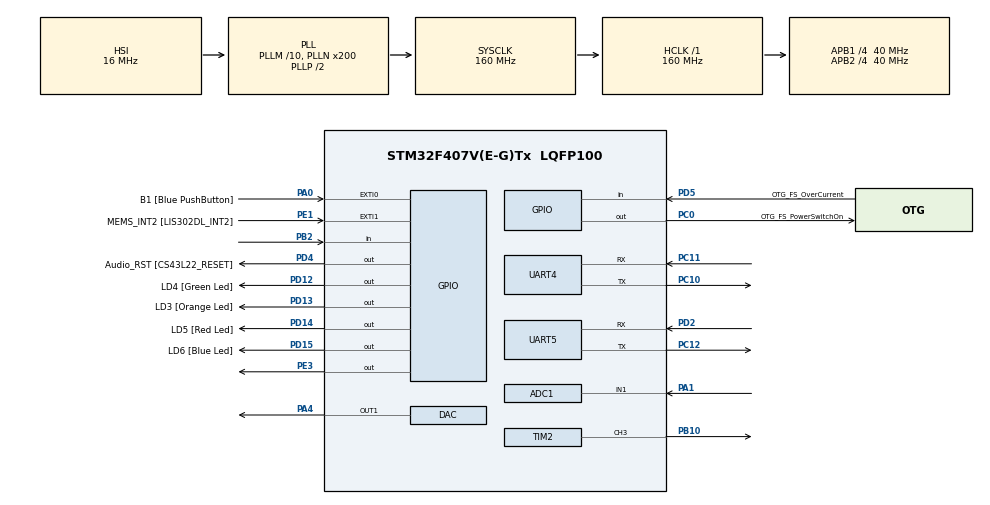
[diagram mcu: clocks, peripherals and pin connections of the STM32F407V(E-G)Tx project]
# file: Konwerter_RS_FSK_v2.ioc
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ADC1.Channel-1\#ChannelRegularConversion=ADC_CHANNEL_1
ADC1.ExternalTrigConv=ADC_EXTERNALTRIGCONV_T2_CC3
ADC1.ExternalTrigConvEdge=ADC_EXTERNALTRIGCONVEDGE_RISING
ADC1.NbrOfConversion=1
ADC1.NbrOfConversionFlag=1
ADC1.Rank-1\#ChannelRegularConversion=1
ADC1.SamplingTime-1\#ChannelRegularConversion=ADC_SAMPLETIME_3CYCLES
ADC1.ScanConvMode=DISABLE
ADC1.master=1
DAC.DAC_Trigger=DAC_TRIGGER_T2_TRGO
Dma.ADC1.1.Direction=DMA_PERIPH_TO_MEMORY
Dma.ADC1.1.FIFOMode=DMA_FIFOMODE_DISABLE
Dma.ADC1.1.Instance=DMA2_Stream0
Dma.ADC1.1.MemDataAlignment=DMA_MDATAALIGN_HALFWORD
Dma.ADC1.1.MemInc=DMA_MINC_ENABLE
Dma.ADC1.1.Mode=DMA_NORMAL
Dma.ADC1.1.PeriphDataAlignment=DMA_PDATAALIGN_HALFWORD
Dma.ADC1.1.PeriphInc=DMA_PINC_DISABLE
Dma.ADC1.1.Priority=DMA_PRIORITY_LOW
Dma.DAC1.0.Direction=DMA_MEMORY_TO_PERIPH
Dma.DAC1.0.FIFOMode=DMA_FIFOMODE_DISABLE
Dma.DAC1.0.Instance=DMA1_Stream5
Dma.DAC1.0.MemDataAlignment=DMA_MDATAALIGN_WORD
Dma.DAC1.0.MemInc=DMA_MINC_ENABLE
Dma.DAC1.0.Mode=DMA_NORMAL
Dma.DAC1.0.PeriphDataAlignment=DMA_PDATAALIGN_WORD
Dma.DAC1.0.PeriphInc=DMA_PINC_DISABLE
Dma.DAC1.0.Priority=DMA_PRIORITY_HIGH
Dma.Request0=DAC1
Dma.Request1=ADC1
Dma.Request2=UART4_TX
Dma.Request3=UART5_TX
Dma.UART4_TX.2.Direction=DMA_MEMORY_TO_PERIPH
Dma.UART4_TX.2.FIFOMode=DMA_FIFOMODE_DISABLE
Dma.UART4_TX.2.Instance=DMA1_Stream4
Dma.UART4_TX.2.MemDataAlignment=DMA_MDATAALIGN_BYTE
Dma.UART4_TX.2.MemInc=DMA_MINC_ENABLE
Dma.UART4_TX.2.Mode=DMA_NORMAL
Dma.UART4_TX.2.PeriphDataAlignment=DMA_PDATAALIGN_BYTE
Dma.UART4_TX.2.PeriphInc=DMA_PINC_DISABLE
Dma.UART4_TX.2.Priority=DMA_PRIORITY_LOW
Dma.UART5_TX.3.Direction=DMA_MEMORY_TO_PERIPH
Dma.UART5_TX.3.FIFOMode=DMA_FIFOMODE_DISABLE
Dma.UART5_TX.3.Instance=DMA1_Stream7
Dma.UART5_TX.3.MemDataAlignment=DMA_MDATAALIGN_BYTE
Dma.UART5_TX.3.MemInc=DMA_MINC_ENABLE
Dma.UART5_TX.3.Mode=DMA_NORMAL
Dma.UART5_TX.3.PeriphDataAlignment=DMA_PDATAALIGN_BYTE
Dma.UART5_TX.3.PeriphInc=DMA_PINC_DISABLE
Dma.UART5_TX.3.Priority=DMA_PRIORITY_LOW
Mcu.Family=STM32F4
Mcu.Name=STM32F407V(E-G)Tx
Mcu.Package=LQFP100
NVIC.ADC_IRQn=true\:0\:0\:false\:true\:true\:5\:true\:true
NVIC.DMA1_Stream4_IRQn=true\:0\:0\:false\:true\:true\:3\:false\:true
NVIC.DMA1_Stream5_IRQn=true\:0\:0\:false\:true\:true\:1\:false\:true
NVIC.DMA1_Stream7_IRQn=true\:0\:0\:false\:true\:true\:8\:false\:true
NVIC.DMA2_Stream0_IRQn=true\:0\:0\:false\:true\:true\:2\:false\:true
NVIC.PriorityGroup=NVIC_PRIORITYGROUP_0
NVIC.TIM7_IRQn=true\:0\:0\:false\:true\:true\:6\:true\:true
NVIC.UART4_IRQn=true\:0\:0\:false\:true\:true\:4\:true\:true
NVIC.UART5_IRQn=true\:0\:0\:false\:true\:true\:7\:true\:true
PA0-WKUP.GPIO_Label=B1 [Blue PushButton]
PA0-WKUP.Signal=GPXTI0
PA1.Signal=ADCx_IN1
PA10.GPIO_Label=OTG_FS_ID
PA10.GPIO_Mode=GPIO_MODE_AF_PP
PA10.GPIO_PuPd=GPIO_NOPULL
PA10.GPIO_Speed=GPIO_SPEED_FREQ_LOW
PA10.Signal=USB_OTG_FS_ID
PA11.GPIO_Label=OTG_FS_DM
PA11.GPIO_Mode=GPIO_MODE_AF_PP
PA11.GPIO_PuPd=GPIO_NOPULL
PA11.GPIO_Speed=GPIO_SPEED_FREQ_LOW
PA11.Signal=USB_OTG_FS_DM
PA12.GPIO_Label=OTG_FS_DP
PA12.GPIO_Mode=GPIO_MODE_AF_PP
PA12.GPIO_PuPd=GPIO_NOPULL
PA12.GPIO_Speed=GPIO_SPEED_FREQ_LOW
PA12.Signal=USB_OTG_FS_DP
PA13.GPIO_Label=SWDIO
PA13.Mode=Serial_Wire
PA13.Signal=SYS_JTMS-SWDIO
PA14.GPIO_Label=SWCLK
PA14.Mode=Serial_Wire
PA14.Signal=SYS_JTCK-SWCLK
PA4.Signal=COMP_DAC1_group
PA9.GPIO_Label=VBUS_FS
PA9.GPIO_Mode=GPIO_MODE_INPUT
PA9.GPIO_PuPd=GPIO_NOPULL
PA9.Signal=USB_OTG_FS_VBUS
PB10.Signal=S_TIM2_CH3
PB2.Signal=GPIO_Input
PB3.GPIO_Label=SWO
PB3.Signal=SYS_JTDO-SWO
PC0.GPIO_Label=OTG_FS_PowerSwitchOn
PC0.GPIO_PuPd=GPIO_NOPULL
PC0.GPIO_Speed=GPIO_SPEED_FREQ_LOW
PC0.PinState=GPIO_PIN_RESET
PC0.Signal=GPIO_Output
PC10.Mode=Asynchronous
PC10.Signal=UART4_TX
PC11.Mode=Asynchronous
PC11.Signal=UART4_RX
PC12.Mode=Asynchronous
PC12.Signal=UART5_TX
PC14-OSC32_IN.GPIO_Label=PC14-OSC32_IN
PC14-OSC32_IN.Signal=RCC_OSC32_IN
PC15-OSC32_OUT.GPIO_Label=PC15-OSC32_OUT
PC15-OSC32_OUT.Signal=RCC_OSC32_OUT
PC3.GPIO_Label=PDM_OUT [MP45DT02_DOUT]
PC3.GPIO_Mode=GPIO_MODE_AF_PP
PC3.GPIO_PuPd=GPIO_NOPULL
PC3.GPIO_Speed=GPIO_SPEED_FREQ_LOW
PC3.Signal=I2S2_SD
PD12.GPIO_Label=LD4 [Green Led]
PD12.GPIO_PuPd=GPIO_NOPULL
PD12.GPIO_Speed=GPIO_SPEED_FREQ_LOW
PD12.Signal=GPIO_Output
PD13.GPIO_Label=LD3 [Orange Led]
PD13.GPIO_PuPd=GPIO_NOPULL
PD13.GPIO_Speed=GPIO_SPEED_FREQ_LOW
PD13.PinState=GPIO_PIN_RESET
PD13.Signal=GPIO_Output
PD14.GPIO_Label=LD5 [Red Led]
PD14.GPIO_PuPd=GPIO_NOPULL
PD14.GPIO_Speed=GPIO_SPEED_FREQ_LOW
PD14.PinState=GPIO_PIN_RESET
PD14.Signal=GPIO_Output
PD15.GPIO_Label=LD6 [Blue Led]
PD15.GPIO_PuPd=GPIO_NOPULL
PD15.GPIO_Speed=GPIO_SPEED_FREQ_LOW
PD15.Signal=GPIO_Output
PD2.Mode=Asynchronous
PD2.Signal=UART5_RX
PD4.GPIO_Label=Audio_RST [CS43L22_RESET]
PD4.GPIO_PuPd=GPIO_NOPULL
PD4.GPIO_Speed=GPIO_SPEED_FREQ_LOW
PD4.Signal=GPIO_Output
PD5.GPIO_Label=OTG_FS_OverCurrent
PD5.GPIO_Mode=GPIO_MODE_INPUT
PD5.GPIO_PuPd=GPIO_NOPULL
PD5.Signal=GPIO_Input
PE1.GPIO_Label=MEMS_INT2 [LIS302DL_INT2]
PE1.GPIO_ModeDefaultEXTI=GPIO_MODE_EVT_RISING
PE1.GPIO_PuPd=GPIO_NOPULL
PE1.Signal=GPXTI1
PE3.Signal=GPIO_Output
PH0-OSC_IN.GPIO_Label=PH0-OSC_IN
PH0-OSC_IN.Signal=RCC_OSC_IN
PH1-OSC_OUT.GPIO_Label=PH1-OSC_OUT
PH1-OSC_OUT.Signal=RCC_OSC_OUT
ProjectManager.HeapSize=0x200
ProjectManager.StackSize=0x400
ProjectManager.TargetToolchain=STM32CubeIDE
RCC.48MHZClocksFreq_Value=45714285.71428572
RCC.AHBFreq_Value=160000000
RCC.APB1CLKDivider=RCC_HCLK_DIV4
RCC.APB1Freq_Value=40000000
RCC.APB1TimFreq_Value=80000000
RCC.APB2CLKDivider=RCC_HCLK_DIV4
RCC.APB2Freq_Value=40000000
RCC.APB2TimFreq_Value=80000000
RCC.CortexFreq_Value=160000000
RCC.HCLKFreq_Value=160000000
RCC.HSE_VALUE=8000000
RCC.HSI_VALUE=16000000
RCC.LSE_VALUE=32768
RCC.PLLM=10
RCC.PLLN=200
RCC.PLLQ=7
RCC.SYSCLKFreq_VALUE=160000000
RCC.SYSCLKSource=RCC_SYSCLKSOURCE_PLLCLK
RCC.VCOOutputFreq_Value=320000000
SH.ADCx_IN1.0=ADC1_IN1,IN1
SH.COMP_DAC1_group.0=DAC_OUT1,DAC_OUT1
SH.S_TIM2_CH3.0=TIM2_CH3,PWM Generation3 CH3
TIM2.Channel-PWM\ Generation3\ CH3=TIM_CHANNEL_3
TIM2.Period=254
TIM2.Prescaler=0
TIM2.Pulse-PWM\ Generation3\ CH3=120
TIM2.TIM_MasterOutputTrigger=TIM_TRGO_UPDATE
TIM7.Period=9999
TIM7.Prescaler=7
UART4.VirtualMode=Asynchronous
UART5.VirtualMode=Asynchronous
VP_TIM2_VS_ClockSourceINT.Mode=Internal
VP_TIM7_VS_ClockSourceINT.Mode=Enable_Timer
board=STM32F407G-DISC1

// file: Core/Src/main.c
/* USER CODE BEGIN Header */
/**
  ******************************************************************************
  * @file           : main.c
  * @brief          : Main program body
  ******************************************************************************
  * @attention
  *
  * <h2><center>&copy; Copyright (c) 2021 STMicroelectronics.
  * All rights reserved.</center></h2>
  *
  * This software component is licensed by ST under BSD 3-Clause license,
  * the "License"; You may not use this file except in compliance with the
  * License. You may obtain a copy of the License at:
  *                        opensource.org/licenses/BSD-3-Clause
  *
  ******************************************************************************
  */
/* USER CODE END Header */
#include "main.h"

/* USER CODE BEGIN Includes */
#include "dacConverter.h"
#include "adcConverter.h"
#include "stateMachine.h"
#include "uartCom.h"
/* USER CODE END Includes */

ADC_HandleTypeDef hadc1;
DMA_HandleTypeDef hdma_adc1;

DAC_HandleTypeDef hdac;
DMA_HandleTypeDef hdma_dac1;

TIM_HandleTypeDef htim2;
TIM_HandleTypeDef htim7;

UART_HandleTypeDef huart4;
UART_HandleTypeDef huart5;
DMA_HandleTypeDef hdma_uart4_tx;
DMA_HandleTypeDef hdma_uart5_tx;

void SystemClock_Config(void);
static void MX_GPIO_Init(void);
static void MX_DMA_Init(void);
static void MX_DAC_Init(void);
static void MX_TIM2_Init(void);
static void MX_ADC1_Init(void);
static void MX_UART4_Init(void);
static void MX_TIM7_Init(void);
static void MX_UART5_Init(void);
static void MX_NVIC_Init(void);

/* USER CODE BEGIN 0 */
int __io_putchar(int ch)
{
  if (ch == '\n') {
    __io_putchar('\r');
  }

  //HAL_UART_Transmit(&huart4, (uint8_t*)&ch, 1, HAL_MAX_DELAY);
  uartComPush(&uartComBufforToCommunicationTx,ch);
  return 1;
}
/* USER CODE END 0 */

int main(void)
{

  /* MCU Configuration--------------------------------------------------------*/

  /* Reset of all peripherals, Initializes the Flash interface and the Systick. */
  HAL_Init();

  /* Configure the system clock */
  SystemClock_Config();

  /* Initialize all configured peripherals */
  MX_GPIO_Init();
  MX_DMA_Init();
  MX_DAC_Init();
  MX_TIM2_Init();
  MX_ADC1_Init();
  MX_UART4_Init();
  MX_TIM7_Init();
  MX_UART5_Init();

  /* Initialize interrupts */
  MX_NVIC_Init();
  /* USER CODE BEGIN 2 */
  //uint32_t sizeData=sizeof(dacSin6700)/sizeof(uint32_t);
  //HAL_DAC_Start_DMA(&hdac, DAC1_CHANNEL_1,(uint32_t*) dacSin6700, sizeData, DAC_ALIGN_12B_R);
  dacConverterInit(&hdac);
  HAL_TIM_Base_Start(&htim2);
  HAL_TIM_Base_Start_IT(&htim7);
  //HAL_TIM_Base_Start(&htim1);
 // HAL_TIM_PWM_Start(&htim1,TIM_CHANNEL_1);
  HAL_TIM_PWM_Start(&htim2,TIM_CHANNEL_3);
  adcConverterInit(&hadc1, &hdma_adc1);
  //uartComInit(&uartComBufforToCommunicationTx,&hdma_uart4_tx);
  //uartComInit(&uartComBufforToCommunicationRx,0);
  //HAL_UART_Receive_IT(&huart4, &uartComBufforToCommunicationRx.bufforForBit, 1);

  uartComInit(&uartComBufforToCommunicationTx,&hdma_uart5_tx);
  uartComInit(&uartComBufforToCommunicationRx,0);
  HAL_UART_Receive_IT(&huart5, &uartComBufforToCommunicationRx.bufforForBit, 1);
  /* USER CODE END 2 */

  /* Infinite loop */
  /* USER CODE BEGIN WHILE */
  while (1){
	  adcConverterStartITConversion();

	  uint8_t adcConvertBit=adcGetConvertBit();
	  if(adcConvertBit==0 || adcConvertBit==1){
		  uartComAddBit(&uartComBufforToCommunicationTx,adcConvertBit);
	  }
	  if(adcConvertBit==ADCCONVERTER_RESET_UART_BYTE){
		  uartComResetByte(&uartComBufforToCommunicationTx);
	  }
	  if(dacBaseStruct.status==DACCONVERTER_IDLE){
		  if(uartComGetSizeDataInBuffor(&uartComBufforToCommunicationRx)>0){
			  stateMachineChangeToSending();
			  if(stateMachineStruct.status==stateMachineSendingEnum){
				  uint16_t dataToSend=uartComPop(&uartComBufforToCommunicationRx);
				  dacConverterSetNewDataToSend((uint8_t)dataToSend);
			  }
		  }
	  }

	  if(hdma_uart5_tx.State==HAL_DMA_STATE_READY){
		  uint8_t *uartBufferPointer=uartComGetBufferFirstElementAddress(&uartComBufforToCommunicationTx);
		  uint32_t uartBufferLength=uartComGetBufferLength(&uartComBufforToCommunicationTx);
		  if(uartBufferLength!=0){
			  HAL_UART_Transmit_DMA(&huart5, uartBufferPointer, uartBufferLength);
		  }
	  }

	  //Reset peryferiów jeśli któryś nie działa
	  if(huart5.RxState==HAL_UART_STATE_READY){
		  HAL_UART_Receive_IT(&huart5, &uartComBufforToCommunicationRx.bufforForBit, 1);
	  }
    /* USER CODE END WHILE */

  }
}

void SystemClock_Config(void)
{
  RCC_OscInitTypeDef RCC_OscInitStruct = {0};
  RCC_ClkInitTypeDef RCC_ClkInitStruct = {0};

  /** Configure the main internal regulator output voltage
  */
  __HAL_RCC_PWR_CLK_ENABLE();
  __HAL_PWR_VOLTAGESCALING_CONFIG(PWR_REGULATOR_VOLTAGE_SCALE1);
  /** Initializes the RCC Oscillators according to the specified parameters
  * in the RCC_OscInitTypeDef structure.
  */
  RCC_OscInitStruct.OscillatorType = RCC_OSCILLATORTYPE_HSI;
  RCC_OscInitStruct.HSIState = RCC_HSI_ON;
  RCC_OscInitStruct.HSICalibrationValue = RCC_HSICALIBRATION_DEFAULT;
  RCC_OscInitStruct.PLL.PLLState = RCC_PLL_ON;
  RCC_OscInitStruct.PLL.PLLSource = RCC_PLLSOURCE_HSI;
  RCC_OscInitStruct.PLL.PLLM = 10;
  RCC_OscInitStruct.PLL.PLLN = 200;
  RCC_OscInitStruct.PLL.PLLP = RCC_PLLP_DIV2;
  RCC_OscInitStruct.PLL.PLLQ = 7;
  if (HAL_RCC_OscConfig(&RCC_OscInitStruct) != HAL_OK)
  {
    Error_Handler();
  }
  /** Initializes the CPU, AHB and APB buses clocks
  */
  RCC_ClkInitStruct.ClockType = RCC_CLOCKTYPE_HCLK|RCC_CLOCKTYPE_SYSCLK
                              |RCC_CLOCKTYPE_PCLK1|RCC_CLOCKTYPE_PCLK2;
  RCC_ClkInitStruct.SYSCLKSource = RCC_SYSCLKSOURCE_PLLCLK;
  RCC_ClkInitStruct.AHBCLKDivider = RCC_SYSCLK_DIV1;
  RCC_ClkInitStruct.APB1CLKDivider = RCC_HCLK_DIV4;
  RCC_ClkInitStruct.APB2CLKDivider = RCC_HCLK_DIV4;

  if (HAL_RCC_ClockConfig(&RCC_ClkInitStruct, FLASH_LATENCY_5) != HAL_OK)
  {
    Error_Handler();
  }
}

/**
  * @brief NVIC Configuration.
  * @retval None
  */
static void MX_NVIC_Init(void)
{
  /* DMA1_Stream5_IRQn interrupt configuration */
  HAL_NVIC_SetPriority(DMA1_Stream5_IRQn, 0, 0);
  HAL_NVIC_EnableIRQ(DMA1_Stream5_IRQn);
  /* DMA2_Stream0_IRQn interrupt configuration */
  HAL_NVIC_SetPriority(DMA2_Stream0_IRQn, 0, 0);
  HAL_NVIC_EnableIRQ(DMA2_Stream0_IRQn);
  /* DMA1_Stream4_IRQn interrupt configuration */
  HAL_NVIC_SetPriority(DMA1_Stream4_IRQn, 0, 0);
  HAL_NVIC_EnableIRQ(DMA1_Stream4_IRQn);
  /* UART4_IRQn interrupt configuration */
  HAL_NVIC_SetPriority(UART4_IRQn, 0, 0);
  HAL_NVIC_EnableIRQ(UART4_IRQn);
  /* ADC_IRQn interrupt configuration */
  HAL_NVIC_SetPriority(ADC_IRQn, 0, 0);
  HAL_NVIC_EnableIRQ(ADC_IRQn);
  /* TIM7_IRQn interrupt configuration */
  HAL_NVIC_SetPriority(TIM7_IRQn, 0, 0);
  HAL_NVIC_EnableIRQ(TIM7_IRQn);
  /* UART5_IRQn interrupt configuration */
  HAL_NVIC_SetPriority(UART5_IRQn, 0, 0);
  HAL_NVIC_EnableIRQ(UART5_IRQn);
  /* DMA1_Stream7_IRQn interrupt configuration */
  HAL_NVIC_SetPriority(DMA1_Stream7_IRQn, 0, 0);
  HAL_NVIC_EnableIRQ(DMA1_Stream7_IRQn);
}

static void MX_ADC1_Init(void)
{

  ADC_ChannelConfTypeDef sConfig = {0};

  /** Configure the global features of the ADC (Clock, Resolution, Data Alignment and number of conversion)
  */
  hadc1.Instance = ADC1;
  hadc1.Init.ClockPrescaler = ADC_CLOCK_SYNC_PCLK_DIV2;
  hadc1.Init.Resolution = ADC_RESOLUTION_12B;
  hadc1.Init.ScanConvMode = DISABLE;
  hadc1.Init.ContinuousConvMode = DISABLE;
  hadc1.Init.DiscontinuousConvMode = DISABLE;
  hadc1.Init.ExternalTrigConvEdge = ADC_EXTERNALTRIGCONVEDGE_RISING;
  hadc1.Init.ExternalTrigConv = ADC_EXTERNALTRIGCONV_T2_CC3;
  hadc1.Init.DataAlign = ADC_DATAALIGN_RIGHT;
  hadc1.Init.NbrOfConversion = 1;
  hadc1.Init.DMAContinuousRequests = DISABLE;
  hadc1.Init.EOCSelection = ADC_EOC_SINGLE_CONV;
  if (HAL_ADC_Init(&hadc1) != HAL_OK)
  {
    Error_Handler();
  }
  /** Configure for the selected ADC regular channel its corresponding rank in the sequencer and its sample time.
  */
  sConfig.Channel = ADC_CHANNEL_1;
  sConfig.Rank = 1;
  sConfig.SamplingTime = ADC_SAMPLETIME_3CYCLES;
  if (HAL_ADC_ConfigChannel(&hadc1, &sConfig) != HAL_OK)
  {
    Error_Handler();
  }

}

static void MX_DAC_Init(void)
{

  DAC_ChannelConfTypeDef sConfig = {0};

  /** DAC Initialization
  */
  hdac.Instance = DAC;
  if (HAL_DAC_Init(&hdac) != HAL_OK)
  {
    Error_Handler();
  }
  /** DAC channel OUT1 config
  */
  sConfig.DAC_Trigger = DAC_TRIGGER_T2_TRGO;
  sConfig.DAC_OutputBuffer = DAC_OUTPUTBUFFER_ENABLE;
  if (HAL_DAC_ConfigChannel(&hdac, &sConfig, DAC_CHANNEL_1) != HAL_OK)
  {
    Error_Handler();
  }

}

static void MX_TIM2_Init(void)
{

  TIM_ClockConfigTypeDef sClockSourceConfig = {0};
  TIM_MasterConfigTypeDef sMasterConfig = {0};
  TIM_OC_InitTypeDef sConfigOC = {0};

  htim2.Instance = TIM2;
  htim2.Init.Prescaler = 0;
  htim2.Init.CounterMode = TIM_COUNTERMODE_UP;
  htim2.Init.Period = 254;
  htim2.Init.ClockDivision = TIM_CLOCKDIVISION_DIV1;
  htim2.Init.AutoReloadPreload = TIM_AUTORELOAD_PRELOAD_DISABLE;
  if (HAL_TIM_Base_Init(&htim2) != HAL_OK)
  {
    Error_Handler();
  }
  sClockSourceConfig.ClockSource = TIM_CLOCKSOURCE_INTERNAL;
  if (HAL_TIM_ConfigClockSource(&htim2, &sClockSourceConfig) != HAL_OK)
  {
    Error_Handler();
  }
  if (HAL_TIM_PWM_Init(&htim2) != HAL_OK)
  {
    Error_Handler();
  }
  sMasterConfig.MasterOutputTrigger = TIM_TRGO_UPDATE;
  sMasterConfig.MasterSlaveMode = TIM_MASTERSLAVEMODE_DISABLE;
  if (HAL_TIMEx_MasterConfigSynchronization(&htim2, &sMasterConfig) != HAL_OK)
  {
    Error_Handler();
  }
  sConfigOC.OCMode = TIM_OCMODE_PWM1;
  sConfigOC.Pulse = 120;
  sConfigOC.OCPolarity = TIM_OCPOLARITY_HIGH;
  sConfigOC.OCFastMode = TIM_OCFAST_DISABLE;
  if (HAL_TIM_PWM_ConfigChannel(&htim2, &sConfigOC, TIM_CHANNEL_3) != HAL_OK)
  {
    Error_Handler();
  }
  HAL_TIM_MspPostInit(&htim2);

}

static void MX_TIM7_Init(void)
{

  TIM_MasterConfigTypeDef sMasterConfig = {0};

  htim7.Instance = TIM7;
  htim7.Init.Prescaler = 7;
  htim7.Init.CounterMode = TIM_COUNTERMODE_UP;
  htim7.Init.Period = 9999;
  htim7.Init.AutoReloadPreload = TIM_AUTORELOAD_PRELOAD_DISABLE;
  if (HAL_TIM_Base_Init(&htim7) != HAL_OK)
  {
    Error_Handler();
  }
  sMasterConfig.MasterOutputTrigger = TIM_TRGO_RESET;
  sMasterConfig.MasterSlaveMode = TIM_MASTERSLAVEMODE_DISABLE;
  if (HAL_TIMEx_MasterConfigSynchronization(&htim7, &sMasterConfig) != HAL_OK)
  {
    Error_Handler();
  }

}

static void MX_UART4_Init(void)
{

  huart4.Instance = UART4;
  huart4.Init.BaudRate = 115200;
  huart4.Init.WordLength = UART_WORDLENGTH_8B;
  huart4.Init.StopBits = UART_STOPBITS_1;
  huart4.Init.Parity = UART_PARITY_NONE;
  huart4.Init.Mode = UART_MODE_TX_RX;
  huart4.Init.HwFlowCtl = UART_HWCONTROL_NONE;
  huart4.Init.OverSampling = UART_OVERSAMPLING_16;
  if (HAL_UART_Init(&huart4) != HAL_OK)
  {
    Error_Handler();
  }

}

static void MX_UART5_Init(void)
{

  huart5.Instance = UART5;
  huart5.Init.BaudRate = 115200;
  huart5.Init.WordLength = UART_WORDLENGTH_8B;
  huart5.Init.StopBits = UART_STOPBITS_1;
  huart5.Init.Parity = UART_PARITY_NONE;
  huart5.Init.Mode = UART_MODE_TX_RX;
  huart5.Init.HwFlowCtl = UART_HWCONTROL_NONE;
  huart5.Init.OverSampling = UART_OVERSAMPLING_16;
  if (HAL_UART_Init(&huart5) != HAL_OK)
  {
    Error_Handler();
  }

}

static void MX_DMA_Init(void)
{

  /* DMA controller clock enable */
  __HAL_RCC_DMA1_CLK_ENABLE();
  __HAL_RCC_DMA2_CLK_ENABLE();

}

static void MX_GPIO_Init(void)
{
  GPIO_InitTypeDef GPIO_InitStruct = {0};

  /* GPIO Ports Clock Enable */
  __HAL_RCC_GPIOE_CLK_ENABLE();
  __HAL_RCC_GPIOC_CLK_ENABLE();
  __HAL_RCC_GPIOH_CLK_ENABLE();
  __HAL_RCC_GPIOA_CLK_ENABLE();
  __HAL_RCC_GPIOB_CLK_ENABLE();
  __HAL_RCC_GPIOD_CLK_ENABLE();

  /*Configure GPIO pin Output Level */
  HAL_GPIO_WritePin(GPIOE, GPIO_PIN_3, GPIO_PIN_RESET);

  /*Configure GPIO pin Output Level */
  HAL_GPIO_WritePin(OTG_FS_PowerSwitchOn_GPIO_Port, OTG_FS_PowerSwitchOn_Pin, GPIO_PIN_RESET);

  /*Configure GPIO pin Output Level */
  HAL_GPIO_WritePin(GPIOD, LD4_Pin|LD3_Pin|LD5_Pin|LD6_Pin
                          |Audio_RST_Pin, GPIO_PIN_RESET);

  /*Configure GPIO pin : PE3 */
  GPIO_InitStruct.Pin = GPIO_PIN_3;
  GPIO_InitStruct.Mode = GPIO_MODE_OUTPUT_PP;
  GPIO_InitStruct.Pull = GPIO_NOPULL;
  GPIO_InitStruct.Speed = GPIO_SPEED_FREQ_LOW;
  HAL_GPIO_Init(GPIOE, &GPIO_InitStruct);

  /*Configure GPIO pin : OTG_FS_PowerSwitchOn_Pin */
  GPIO_InitStruct.Pin = OTG_FS_PowerSwitchOn_Pin;
  GPIO_InitStruct.Mode = GPIO_MODE_OUTPUT_PP;
  GPIO_InitStruct.Pull = GPIO_NOPULL;
  GPIO_InitStruct.Speed = GPIO_SPEED_FREQ_LOW;
  HAL_GPIO_Init(OTG_FS_PowerSwitchOn_GPIO_Port, &GPIO_InitStruct);

  /*Configure GPIO pin : PDM_OUT_Pin */
  GPIO_InitStruct.Pin = PDM_OUT_Pin;
  GPIO_InitStruct.Mode = GPIO_MODE_AF_PP;
  GPIO_InitStruct.Pull = GPIO_NOPULL;
  GPIO_InitStruct.Speed = GPIO_SPEED_FREQ_LOW;
  GPIO_InitStruct.Alternate = GPIO_AF5_SPI2;
  HAL_GPIO_Init(PDM_OUT_GPIO_Port, &GPIO_InitStruct);

  /*Configure GPIO pin : B1_Pin */
  GPIO_InitStruct.Pin = B1_Pin;
  GPIO_InitStruct.Mode = GPIO_MODE_IT_RISING;
  GPIO_InitStruct.Pull = GPIO_NOPULL;
  HAL_GPIO_Init(B1_GPIO_Port, &GPIO_InitStruct);

  /*Configure GPIO pin : PB2 */
  GPIO_InitStruct.Pin = GPIO_PIN_2;
  GPIO_InitStruct.Mode = GPIO_MODE_INPUT;
  GPIO_InitStruct.Pull = GPIO_NOPULL;
  HAL_GPIO_Init(GPIOB, &GPIO_InitStruct);

  /*Configure GPIO pins : LD4_Pin LD3_Pin LD5_Pin LD6_Pin
                           Audio_RST_Pin */
  GPIO_InitStruct.Pin = LD4_Pin|LD3_Pin|LD5_Pin|LD6_Pin
                          |Audio_RST_Pin;
  GPIO_InitStruct.Mode = GPIO_MODE_OUTPUT_PP;
  GPIO_InitStruct.Pull = GPIO_NOPULL;
  GPIO_InitStruct.Speed = GPIO_SPEED_FREQ_LOW;
  HAL_GPIO_Init(GPIOD, &GPIO_InitStruct);

  /*Configure GPIO pin : VBUS_FS_Pin */
  GPIO_InitStruct.Pin = VBUS_FS_Pin;
  GPIO_InitStruct.Mode = GPIO_MODE_INPUT;
  GPIO_InitStruct.Pull = GPIO_NOPULL;
  HAL_GPIO_Init(VBUS_FS_GPIO_Port, &GPIO_InitStruct);

  /*Configure GPIO pins : OTG_FS_ID_Pin OTG_FS_DM_Pin OTG_FS_DP_Pin */
  GPIO_InitStruct.Pin = OTG_FS_ID_Pin|OTG_FS_DM_Pin|OTG_FS_DP_Pin;
  GPIO_InitStruct.Mode = GPIO_MODE_AF_PP;
  GPIO_InitStruct.Pull = GPIO_NOPULL;
  GPIO_InitStruct.Speed = GPIO_SPEED_FREQ_LOW;
  GPIO_InitStruct.Alternate = GPIO_AF10_OTG_FS;
  HAL_GPIO_Init(GPIOA, &GPIO_InitStruct);

  /*Configure GPIO pin : OTG_FS_OverCurrent_Pin */
  GPIO_InitStruct.Pin = OTG_FS_OverCurrent_Pin;
  GPIO_InitStruct.Mode = GPIO_MODE_INPUT;
  GPIO_InitStruct.Pull = GPIO_NOPULL;
  HAL_GPIO_Init(OTG_FS_OverCurrent_GPIO_Port, &GPIO_InitStruct);

  /*Configure GPIO pin : MEMS_INT2_Pin */
  GPIO_InitStruct.Pin = MEMS_INT2_Pin;
  GPIO_InitStruct.Mode = GPIO_MODE_EVT_RISING;
  GPIO_InitStruct.Pull = GPIO_NOPULL;
  HAL_GPIO_Init(MEMS_INT2_GPIO_Port, &GPIO_InitStruct);

}

/* USER CODE BEGIN 4 */

void HAL_DAC_ConvCpltCallbackCh1(DAC_HandleTypeDef *hdac1){
	if(hdac1==&hdac){
		dacNextBitConvert();
	}
}
void HAL_ADC_ConvCpltCallback(ADC_HandleTypeDef* hadc){
	if(hadc==&hadc1){
		adcCoverterCheckDMAConversion();
		adcConvert();
	}
}
void HAL_UART_RxCpltCallback(UART_HandleTypeDef *huart){
	if(huart==&huart5){
		uartComPush(&uartComBufforToCommunicationRx,uartComBufforToCommunicationRx.bufforForBit);
		HAL_UART_Receive_IT(huart, &uartComBufforToCommunicationRx.bufforForBit, 1);
	}
}
void HAL_TIM_PeriodElapsedCallback (TIM_HandleTypeDef *htim){
	if(htim==&htim7){
		dacAddTimeBraek();
		uartComTime();
		stateMachineAddTime();
	}
}
/*void HAL_ADC_ConvCpltCallback(ADC_HandleTypeDef* hadc){

}*/
/* USER CODE END 4 */

void Error_Handler(void)
{
  __disable_irq();
  while (1)
  {
  }
}

/************************ (C) COPYRIGHT STMicroelectronics *****END OF FILE****/
